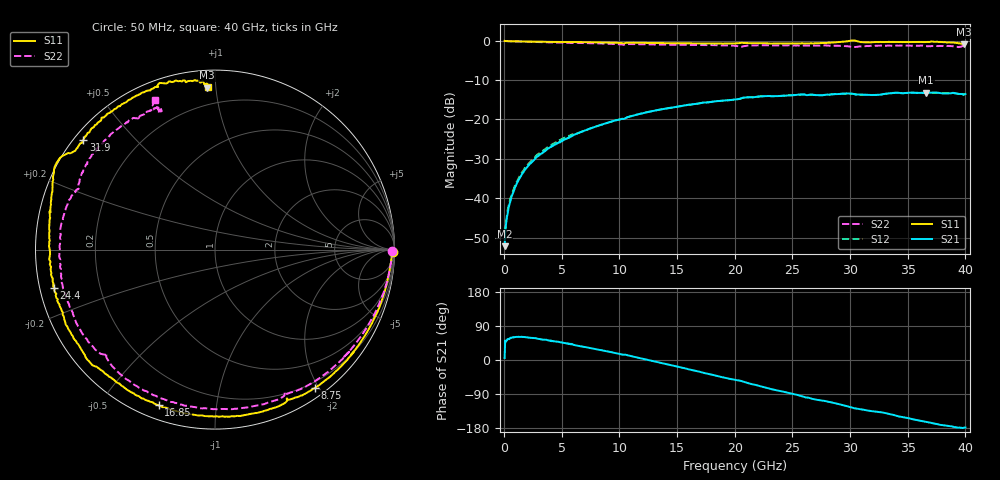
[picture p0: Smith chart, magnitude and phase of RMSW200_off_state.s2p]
! Touchstone file from project SPST_2c_spar
# GHZ S MA R 50.000000
! Modal data exported
! Port[1] = Port1
! Port[2] = Port2
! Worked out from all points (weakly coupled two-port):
!   800 points, 50 MHz to 40 GHz, reference 50 ohm
!   highest |S21| = -13.18 dB at 36.6 GHz (marker M1); lowest = -52.2 dB at 50 MHz (marker M2)
!   lowest |S11| = -0.9 dB at 39.85 GHz (marker M3), VSWR 19.49, Z = 4.88 + j47.4 ohm
!   |S11| at or under -10 dB: nowhere
!   |S22| runs from -1.7 to -0.1 dB; largest |S21 - S12| = 0.0043
!   S11 on the Smith chart (normalised r, x): 50 MHz: open; 8.75 GHz: 0.12, -1.95; 16.85 GHz: 0.06, -0.70; 24.4 GHz: 0.04, -0.12; 31.9 GHz: 0.03, +0.36; 40 GHz: 0.10, +0.96
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0.05  0.9934 -0.7  0.002466 5.3  0.003752 88.9  0.9869 -0.4
! Port Impedance 5.000000E+001 0.000000E+000 5.000000E+001 0.000000E+000
0.35  0.9852 -2.5  0.006917 54.8  0.007547 53.6  0.9851 -2.7
0.65  0.982 -4.4  0.01048 58.5  0.01091 56.8  0.9828 -4.8
1.15  0.9784 -7.6  0.01591 61.2  0.01675 60.3  0.978 -8.3
1.85  0.975 -11.9  0.02339 60.0  0.02467 59.5  0.9711 -13.0
3.9  0.966 -24.7  0.04324 51.2  0.04573 50.6  0.952 -26.4
6.75  0.9579 -41.2  0.07005 35.5  0.06991 35.5  0.9342 -41.9
8.75  0.9512 -54.1  0.08858 24.0  0.08858 23.9  0.9175 -54.5
13.4  0.9345 -85.1  0.1325 -6.3  0.1326 -6.4  0.892 -84.9
16.85  0.9231 -109.9  0.1594 -30.2  0.1594 -30.2  0.8813 -109.3
20.05  0.923 -133.2  0.1789 -52.4  0.1786 -52.4  0.8599 -133.5
22.45  0.9281 -152.4  0.197 -71.1  0.197 -71.0  0.8748 -150.0
24.4  0.9216 -166.8  0.2012 -85.0  0.2012 -84.9  0.8713 -164.2
26.7  0.9237 177.2  0.2064 -102.2  0.2068 -102.2  0.8655 179.3
30  0.9955 154.3  0.212 -124.2  0.2128 -124.0  0.8414 157.4
30.55  0.9883 147.7  0.2072 -128.1  0.2071 -128.0  0.8341 155.2
31.9  0.9549 140.2  0.204 -135.0  0.2038 -135.0  0.8589 147.4
33.35  0.9686 130.8  0.2143 -142.2  0.2142 -142.1  0.8646 138.8
36.6  0.9617 111.1  0.2192 -163.1  0.2196 -162.9  0.8542 121.0
39  0.9459 96.1  0.2167 -176.8  0.2165 -176.6  0.8438 111.0
39.85  0.9024 92.8  0.2067 -178.7  0.2061 -178.6  0.859 113.0
40  0.904 92.3  0.2099 -178.1  0.2128 -177.8  0.895 111.8
